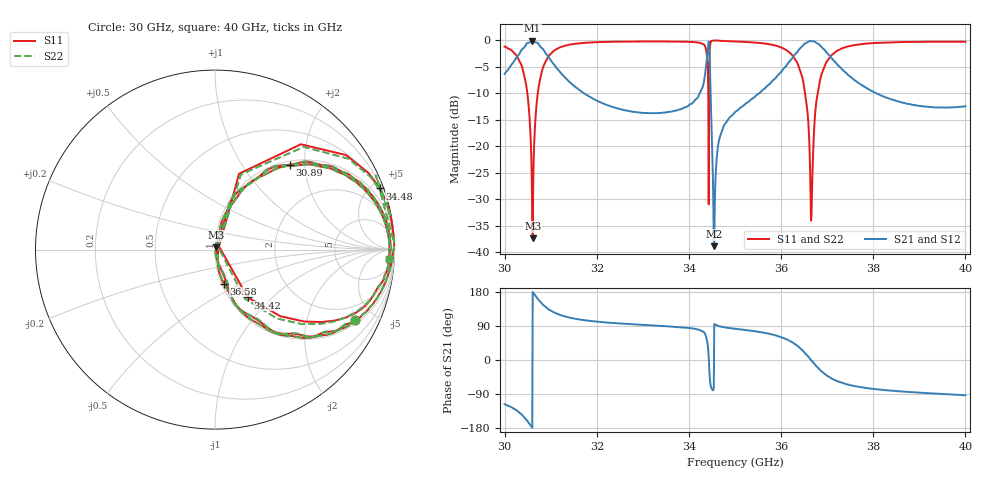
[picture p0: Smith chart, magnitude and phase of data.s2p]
! TOUCHSTONE file generated by CST MICROWAVE STUDIO
! Date and time: Mon Jan 19 02:11:50 2026
! Project name: CSRR_WR28_Lorentz.cst
! Header version: 2018
! Port assignment regex: !\s*Touchstone port\s*([0-9]+)\s*=\s*(CST MWS port|CST DS port)\s*([0-9]+|Zmin|Zmax)\s*\(\"(.*)\"\)(\s*mode\s*([0-9]+))?.*
! Touchstone port assignment:
! Touchstone port 1 = CST MWS port 1 ("Port1")
! Touchstone port 2 = CST MWS port 2 ("Port2")
# GHz S MA R 50
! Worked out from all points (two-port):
!   1001 points, 30 GHz to 40 GHz, reference 50 ohm
!   highest |S21| = -0.03 dB at 30.6 GHz (marker M1); lowest = -38.9 dB at 34.54 GHz (marker M2)
!   |S21| within 3 dB of the highest: 30.27 GHz to 30.95 GHz (672.3 MHz wide, 2.2 % of centre); 36.27 GHz to 37.07 GHz (800.9 MHz wide, 2.18 % of centre)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
!   lowest |S11| = -37.4 dB at 30.61 GHz (marker M3), VSWR 1.03, Z = 50.7 + j1.2 ohm
!   |S11| at or under -10 dB: 30.49 GHz to 30.72 GHz (224.8 MHz wide, 0.734 % of centre); 34.42009 GHz to 34.43877 GHz (18.68 MHz wide, 0.0543 % of centre); 36.52 GHz to 36.8 GHz (275.8 MHz wide, 0.752 % of centre)
!   |S22| runs from -38.4 to 0.0 dB; largest |S21 - S12| = 1.7e-06
!   S11 on the Smith chart (normalised r, x): 30 GHz: 1.19, -3.91; 30.89 GHz: 1.07, +1.68; 34.42 GHz: 1.21, -0.72; 34.48 GHz: 0.33, +5.56; 36.58 GHz: 1.02, -0.40; 40 GHz: 16, -29
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30  0.8736 -26.5  0.4835 -116.8  0.4835 -116.8  0.8736 -26.6
30.42  0.4757 -57.9  0.8538 -150.7  0.8538 -150.7  0.4759 -57.3
30.6  0.01867 -70.5  0.9965 -178.6  0.9965 -178.6  0.01776 -86.4
30.61  0.01354 60.7  0.9957 179.6  0.9957 179.6  0.01199 81.0
30.72  0.3194 70.3  0.9438 161.3  0.9438 161.3  0.3193 71.1
30.89  0.6309 48.6  0.755 140.3  0.755 140.3  0.631 48.3
31.67  0.9432 15.9  0.3284 106.1  0.3284 106.1  0.9432 15.9
33.34  0.9775 0.3  0.2062 90.3  0.2063 90.3  0.9775 0.3
34.25  0.9434 -11.7  0.3284 78.2  0.3284 78.2  0.9434 -11.7
34.37  0.8229 -27.3  0.5634 62.4  0.5634 62.4  0.8229 -27.3
34.42  0.3229 -55.5  0.9046 25.5  0.9046 25.5  0.3206 -58.7
34.48  0.9796 20.3  0.2334 -71.4  0.2334 -71.4  0.9793 19.5
34.54  0.9966 6.6  0.01141 -72.6  0.01141 -72.6  0.9869 24.8
34.69  0.9901 -1.7  0.1293 88.2  0.1293 88.2  0.9901 -1.8
35  0.977 -7.6  0.2103 82.3  0.2103 82.3  0.977 -7.6
36.23  0.7364 -41.4  0.6666 47.9  0.6666 47.9  0.7364 -41.4
36.58  0.1961 -75.3  0.9665 10.6  0.9665 10.6  0.1961 -75.3
36.67  0.03694 55.6  0.9806 -2.8  0.9806 -2.8  0.03597 58.2
36.79  0.3071 67.4  0.9342 -19.2  0.9342 -19.2  0.307 67.7
37  0.6389 47.1  0.7564 -41.8  0.7564 -41.8  0.6389 47.2
38.34  0.958 9.5  0.2837 -80.4  0.2837 -80.4  0.958 9.5
40  0.9709 -3.0  0.2386 -93.1  0.2386 -93.1  0.9709 -3.1
